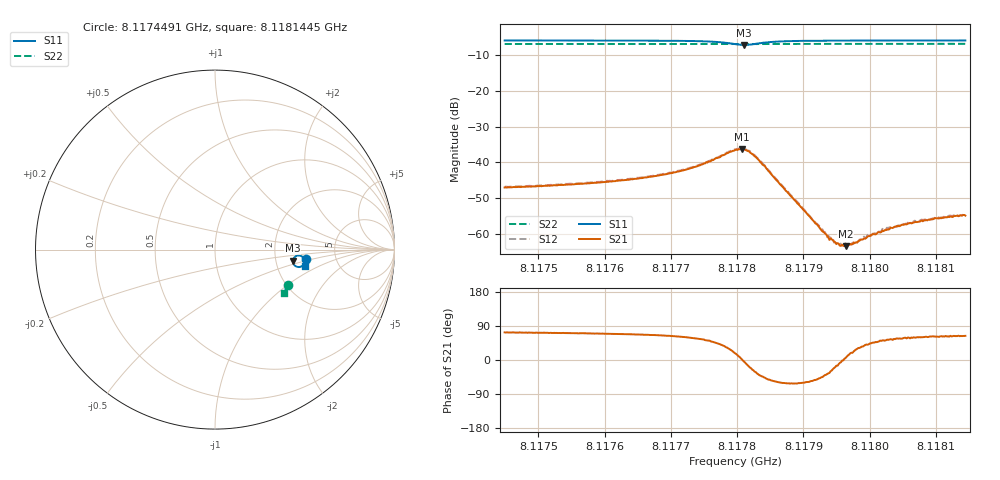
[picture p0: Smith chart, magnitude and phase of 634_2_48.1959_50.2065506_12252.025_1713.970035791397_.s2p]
#  HZ  S  RI  R  50.00
! Rohde & Schwarz Vector Network Analyzer
! Rohde-Schwarz,ZNB20-2Port,1311601062101988,3.16
! Created: UTC 3/20/2024, 12:04:32 PM
! freq[Hz]  re:S11  im:S11  re:S21  im:S21  re:S12  im:S12  re:S22  im:S22
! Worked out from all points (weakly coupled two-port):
!   401 points, 8.1174491 GHz to 8.1181445 GHz, reference 50 ohm
!   highest |S21| = -36.28 dB at 8.1178072 GHz (marker M1); lowest = -63.5 dB at 8.1179637 GHz (marker M2)
!   lowest |S11| = -7.2 dB at 8.1178107 GHz (marker M3), VSWR 2.56, Z = 125 - j19.1 ohm
!   |S11| at or under -10 dB: nowhere
!   |S22| runs from -6.9 to -6.8 dB; largest |S21 - S12| = 0.00059
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8.11744911e9  0.5044 -0.0502  0.0013 0.00425  0.00138 0.00431  0.4069 -0.1979
8.11756559e9  0.5024 -0.0614  0.00167 0.00472  0.00177 0.0048  0.4035 -0.2056
8.11762469e9  0.5008 -0.0682  0.00203 0.00521  0.00211 0.00528  0.4016 -0.2094
8.11768206e9  0.4974 -0.0766  0.00276 0.00596  0.00287 0.00605  0.3998 -0.2131
8.11773943e9  0.4884 -0.089  0.00484 0.00733  0.00499 0.00751  0.3976 -0.2169
8.11779679e9  0.4428 -0.0871  0.0141 0.00453  0.0145 0.00473  0.3939 -0.2197
8.11780722e9  0.4343 -0.0691  0.0153 0.000415  0.0156 0.000295  0.3935 -0.2195
8.1178107e9  0.4341 -0.0619  0.0151 -0.00127  0.0154 -0.00123  0.3934 -0.2193
8.11782113e9  0.4431 -0.0426  0.0124 -0.00502  0.0128 -0.00515  0.3938 -0.2193
8.11783504e9  0.464 -0.0329  0.00756 -0.00665  0.00783 -0.00684  0.3944 -0.2199
8.11786459e9  0.4893 -0.0423  0.00254 -0.00425  0.00265 -0.00439  0.3944 -0.2224
8.11791327e9  0.4987 -0.0584  0.0009 -0.0013  0.000927 -0.00132  0.3932 -0.2262
8.11793587e9  0.4997 -0.0635  0.000746 -0.000562  0.000704 -0.000556  0.3922 -0.2275
8.1179463e9  0.5 -0.0654  0.000728 -0.000281  0.000695 -0.000287  0.3921 -0.2283
8.11795325e9  0.5001 -0.0667  0.000713 -0.000137  0.000711 -0.000155  0.3919 -0.2289
8.11796368e9  0.5001 -0.0684  0.000668 6.25e-05  0.000732 5.32e-05  0.3916 -0.2294
8.11797933e9  0.5002 -0.0707  0.000673 0.000353  0.000686 0.000351  0.391 -0.2304
8.11799497e9  0.5002 -0.0729  0.000663 0.000572  0.000717 0.000541  0.3904 -0.2315
8.11802974e9  0.4999 -0.0773  0.00068 0.000936  0.000732 0.000994  0.3893 -0.2338
8.11806972e9  0.4997 -0.0817  0.000749 0.00126  0.000791 0.00127  0.388 -0.2362
8.11809754e9  0.4993 -0.0845  0.000769 0.00144  0.000811 0.00145  0.387 -0.2381
8.11814447e9  0.4988 -0.089  0.000796 0.00161  0.000808 0.00165  0.3853 -0.2408
